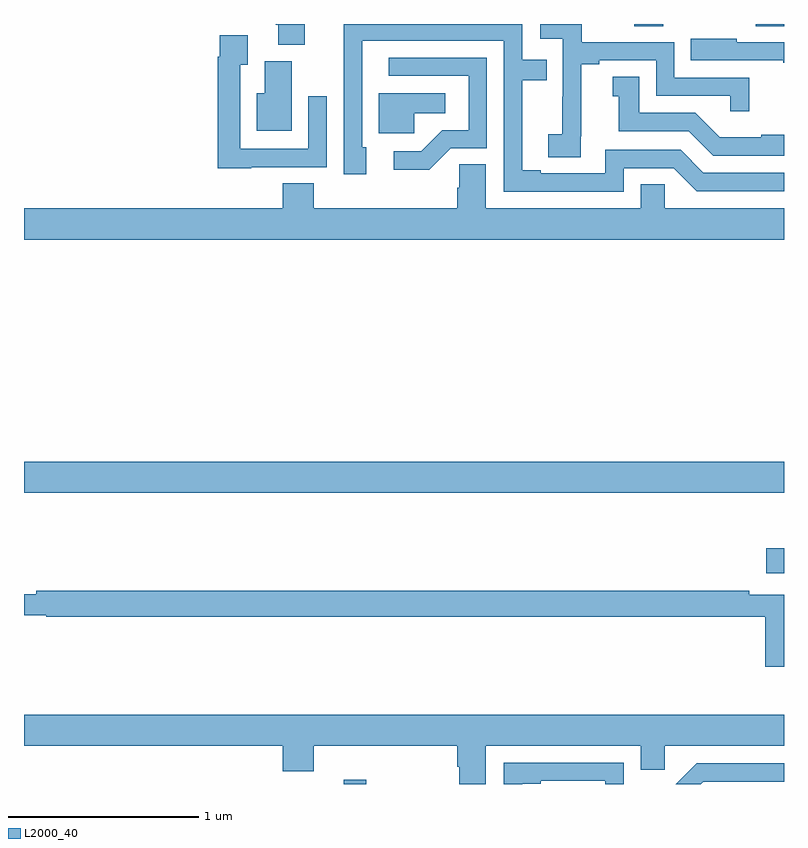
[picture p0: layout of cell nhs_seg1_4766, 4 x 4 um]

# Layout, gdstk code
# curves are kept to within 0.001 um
import gdstk
lib = gdstk.Library(unit=1e-6, precision=1e-09)
def R(c, l, rs):  # rectangles x0, y0, x1, y1
    for r in rs: c.add(gdstk.rectangle(r[:2], r[2:], *l))
def P(c, l, *ps):  # polygons
    for p in ps: c.add(gdstk.Polygon(p, *l))
L2000_40 = (2000, 40)

nhs_seg1_4766 = lib.new_cell('nhs_seg1_4766')
R(nhs_seg1_4766, L2000_40, [(370.683,550.199,370.801,550.222), (372.906,551.309,373,551.439), (369,551.732,373,551.896), (372.212,554.188,372.365,554.199), (372.851,554.188,373,554.199)])
P(nhs_seg1_4766, L2000_40, [(372.156,553.44),(372.42,553.44),(372.54,553.32),(373,553.32),(373,553.416),(372.576,553.416),(372.456,553.536),(372.06,553.536),(372.06,553.413),(371.719,553.413),(371.719,553.428),(371.623,553.428),(371.623,553.902),(371.75,553.902),(371.75,554.01),(371.622,554.01),(371.622,554.199),(370.682,554.199),(370.683,553.407),(370.801,553.407),(370.801,553.551),(370.779,553.551),(370.779,554.112),(371.526,554.112),(371.526,553.317),(372.156,553.317)],
  [(371.93,553.609),(371.932,553.609),(371.932,553.987),(372.028,553.987),(372.028,554.007),(372.327,554.007),(372.327,553.821),(372.717,553.821),(372.717,553.74),(372.818,553.74),(372.818,553.917),(372.423,553.917),(372.423,554.103),(371.936,554.103),(371.936,554.199),(371.718,554.199),(371.718,554.121),(371.835,554.121),(371.835,553.817),(371.834,553.817),(371.834,553.62),(371.76,553.62),(371.76,553.498),(371.93,553.498)],
  [(370.477,554.199),(370.325,554.199),(370.325,554.194),(370.337,554.194),(370.337,554.089),(370.477,554.089)],
  [(370.197,553.446),(370.593,553.446),(370.593,553.819),(370.497,553.819),(370.497,553.542),(370.137,553.542),(370.137,553.984),(370.177,553.984),(370.177,554.14),(370.029,554.14),(370.029,554.027),(370.021,554.027),(370.021,553.439),(370.197,553.439)],
  [(373,554.103),(372.751,554.103),(372.751,554.122),(372.508,554.122),(372.508,554.007),(372.995,554.007),(372.995,553.995),(373,553.995)],
  [(371.247,553.545),(371.436,553.545),(371.436,554.022),(370.92,554.022),(370.92,553.926),(371.34,553.926),(371.34,553.641),(371.202,553.641),(371.091,553.53),(370.947,553.53),(370.947,553.433),(371.134,553.433)],
  [(370.408,554.004),(370.268,554.004),(370.268,553.834),(370.226,553.834),(370.226,553.637),(370.408,553.637)],
  [(373,553.615),(372.881,553.615),(372.881,553.603),(372.662,553.603),(372.534,553.731),(372.238,553.731),(372.238,553.922),(372.098,553.922),(372.098,553.819),(372.131,553.819),(372.131,553.635),(372.498,553.635),(372.627,553.506),(373,553.506)],
  [(371.055,553.73),(371.218,553.73),(371.218,553.834),(370.868,553.834),(370.868,553.623),(371.055,553.623)],
  [(373,553.228),(372.372,553.228),(372.372,553.355),(372.245,553.355),(372.245,553.228),(371.431,553.228),(371.431,553.46),(371.292,553.46),(371.292,553.337),(371.279,553.337),(371.279,553.228),(370.526,553.228),(370.526,553.361),(370.361,553.361),(370.361,553.228),(369,553.228),(369,553.064),(373,553.064)],
  [(373,551.196),(372.818,551.196),(372.818,551.216),(369.064,551.216),(369.064,551.197),(369,551.197),(369,551.088),(369.118,551.088),(369.118,551.08),(372.902,551.08),(372.902,550.815),(373,550.815)],
  [(371.431,550.4),(372.245,550.4),(372.245,550.273),(372.372,550.273),(372.372,550.4),(373,550.4),(373,550.564),(369,550.564),(369,550.4),(370.361,550.4),(370.361,550.267),(370.526,550.267),(370.526,550.4),(371.279,550.4),(371.279,550.291),(371.292,550.291),(371.292,550.199),(371.431,550.199)],
  [(371.623,550.2),(371.719,550.2),(371.719,550.215),(372.06,550.215),(372.06,550.199),(372.156,550.199),(372.156,550.311),(371.526,550.311),(371.526,550.199),(371.623,550.199)],
  [(372.576,550.212),(373,550.212),(373,550.308),(372.54,550.308),(372.431,550.199),(372.563,550.199)])

lib.write_gds('nhs_seg1_4766.gds')
